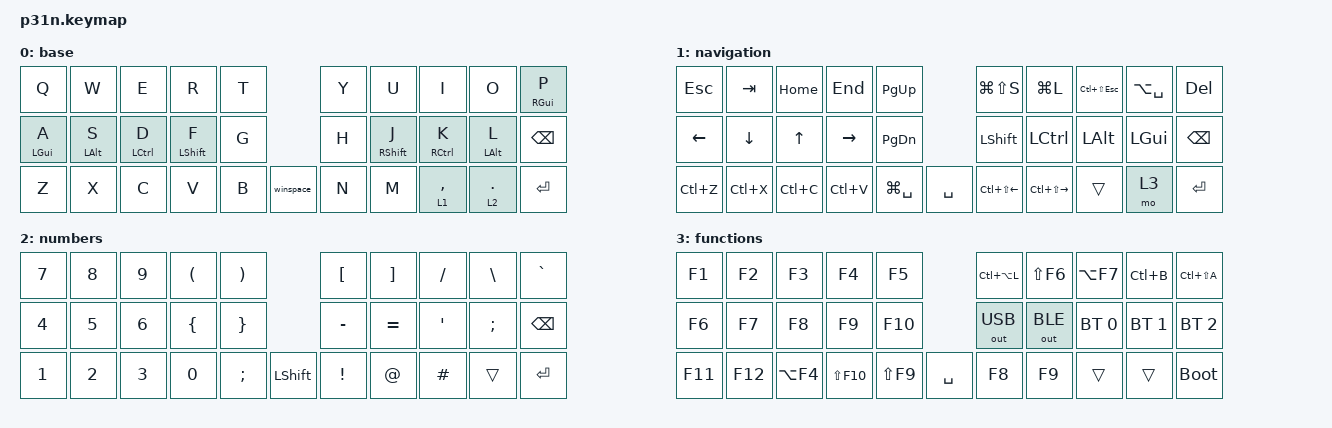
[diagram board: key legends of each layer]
// SPDX-License-Identifier: MIT
#include <behaviors.dtsi>
#include <dt-bindings/zmk/keys.h>
#include <dt-bindings/zmk/bt.h>
#include <dt-bindings/zmk/outputs.h>

&lt { tapping-term-ms = <190>; flavor = "tap-preferred"; };

/ {
    behaviors {
        hl: homerow_left {
            compatible = "zmk,behavior-hold-tap";
            #binding-cells = <2>;
            bindings = <&kp>, <&kp>;
            flavor = "balanced";
            tapping-term-ms = <240>;
            hold-trigger-key-positions = <5 6 7 8 9 15 16 17 18 19 25 26 27 28 29 30>;
            hold-trigger-on-release;
        };
        hr: homerow_right {
            compatible = "zmk,behavior-hold-tap";
            #binding-cells = <2>;
            bindings = <&kp>, <&kp>;
            flavor = "balanced";
            tapping-term-ms = <240>;
            hold-trigger-key-positions = <0 1 2 3 4 10 11 12 13 14 20 21 22 23 24 25>;
            hold-trigger-on-release;
        };
        winspace: space_or_tab {
            compatible = "zmk,behavior-mod-morph";
            #binding-cells = <0>;
            bindings = <&kp SPACE>, <&kp TAB>;
            mods = <(MOD_LALT)>;
            keep-mods = <(MOD_LALT)>;
        };
    };
    keymap {
        compatible = "zmk,keymap";
        base {
            bindings = <
                &kp Q &kp W &kp E &kp R &kp T             &kp Y &kp U &kp I &kp O &hr RGUI P
                &hl LGUI A &hl LALT S &hl LCTRL D &hl LSHIFT F &kp G   &kp H &hr RSHIFT J &hr RCTRL K &hr LALT L &kp BSPC
                &kp Z &kp X &kp C &kp V &kp B   &winspace   &kp N &kp M &lt 1 COMMA &lt 2 DOT &kp ENTER
            >;
        };
        navigation {
            bindings = <
                &kp ESC &kp TAB &kp HOME &kp END &kp PG_UP       &kp LG(LS(S)) &kp LG(L) &kp LC(LS(ESC)) &kp LA(SPACE) &kp DEL
                &kp LEFT &kp DOWN &kp UP &kp RIGHT &kp PG_DN     &kp LSHIFT &kp LCTRL &kp LALT &kp LGUI &kp BSPC
                &kp LC(Z) &kp LC(X) &kp LC(C) &kp LC(V) &kp LG(SPACE)   &kp SPACE   &kp LC(LS(LEFT)) &kp LC(LS(RIGHT)) &trans &mo 3 &kp ENTER
            >;
        };
        numbers {
            bindings = <
                &kp N7 &kp N8 &kp N9 &kp LPAR &kp RPAR        &kp LBKT &kp RBKT &kp SLASH &kp BSLH &kp GRAVE
                &kp N4 &kp N5 &kp N6 &kp LBRC &kp RBRC        &kp MINUS &kp EQUAL &kp SQT &kp SEMI &kp BSPC
                &kp N1 &kp N2 &kp N3 &kp N0 &kp SEMI   &kp LSHIFT   &kp EXCL &kp AT &kp HASH &trans &kp ENTER
            >;
        };
        functions {
            bindings = <
                &kp F1 &kp F2 &kp F3 &kp F4 &kp F5        &kp LC(LA(L)) &kp LS(F6) &kp LA(F7) &kp LC(B) &kp LC(LS(A))
                &kp F6 &kp F7 &kp F8 &kp F9 &kp F10       &out OUT_USB &out OUT_BLE &bt BT_SEL 0 &bt BT_SEL 1 &bt BT_SEL 2
                &kp F11 &kp F12 &kp LA(F4) &kp LS(F10) &kp LS(F9)   &kp SPACE   &kp F8 &kp F9 &trans &trans &bootloader
            >;
        };
    };
};
